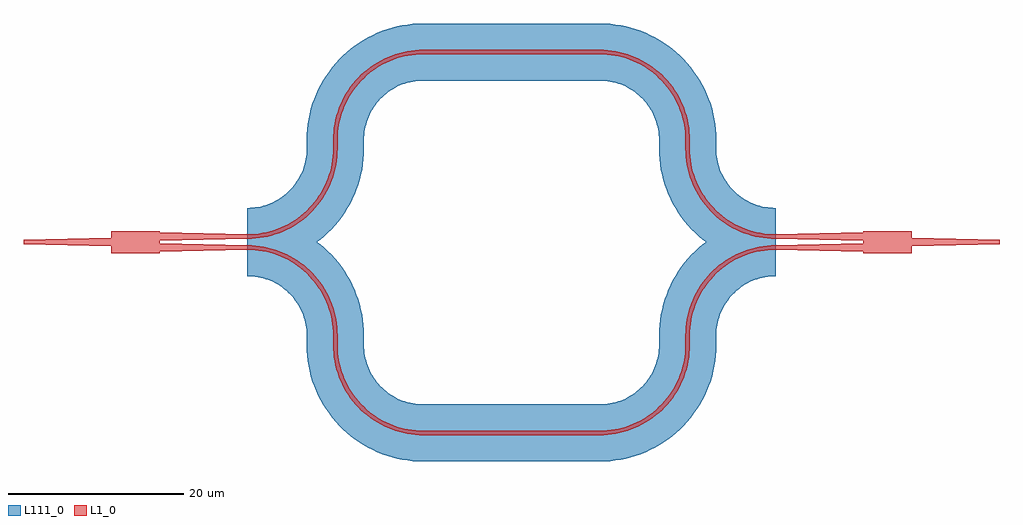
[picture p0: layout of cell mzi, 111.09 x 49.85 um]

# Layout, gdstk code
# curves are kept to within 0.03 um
import gdstk
lib = gdstk.Library(unit=1e-6, precision=1e-09)
def R(c, l, rs):  # rectangles x0, y0, x1, y1
    for r in rs: c.add(gdstk.rectangle(r[:2], r[2:], *l))
def P(c, l, *ps):  # polygons
    for p in ps: c.add(gdstk.Polygon(p, *l))
L1_0 = (1, 0)
L111_0 = (111, 0)

mzi = lib.new_cell('mzi')
R(mzi, L1_0, [(45.496,-21.975,65.596,-21.475), (35.246,-11.725,35.746,-11.625), (75.346,-11.725,75.846,-11.625), (35.246,-11.625,35.746,-10.625), (75.346,-11.625,75.846,-10.625), (10,-1.25,15.496,1.25), (95.596,-1.25,101.092,1.25), (35.246,10.625,35.746,11.625), (75.346,10.625,75.846,11.625), (45.496,21.375,65.596,21.875)])
P(mzi, L1_0, [(25.496,-0.875),(15.496,-1.125),(15.496,-0.125),(25.496,-0.375)],
  [(25.496,0.375),(15.496,0.125),(15.496,1.125),(25.496,0.875)],
  [(0,0.25),(10,0.5),(10,-0.5),(0,-0.25)],
  [(85.596,0.875),(95.596,1.125),(95.596,0.125),(85.596,0.375)],
  [(85.596,-0.375),(95.596,-0.125),(95.596,-1.125),(85.596,-0.875)],
  [(111.092,-0.25),(101.092,-0.5),(101.092,0.5),(111.092,0.25)],
  [(35.246,10.625),(35.207,9.751),(35.089,8.884),(34.895,8.031),(34.624,7.199),(34.28,6.395),(33.866,5.624),(33.119,4.546),(32.543,3.887),(31.911,3.283),(31.227,2.737),(30.497,2.255),(29.726,1.841),(28.509,1.352),(27.666,1.119),(26.37,0.914),(25.496,0.875),(25.496,0.375),(26.415,0.416),(27.777,0.632),(28.663,0.877),(29.525,1.2),(30.353,1.599),(31.143,2.071),(31.887,2.611),(32.905,3.542),(33.51,4.234),(34.295,5.368),(34.921,6.596),(35.244,7.458),(35.489,8.344),(35.653,9.249),(35.746,10.625)],
  [(35.746,11.625),(35.785,12.499),(35.903,13.366),(36.097,14.219),(36.368,15.051),(36.712,15.855),(37.126,16.626),(37.873,17.704),(38.449,18.363),(39.081,18.967),(39.765,19.513),(40.495,19.995),(41.266,20.409),(42.483,20.898),(43.326,21.131),(44.622,21.336),(45.496,21.375),(45.496,21.875),(44.577,21.834),(43.215,21.618),(42.329,21.373),(41.467,21.05),(40.639,20.651),(39.849,20.179),(39.105,19.639),(38.087,18.708),(37.482,18.016),(36.697,16.882),(36.071,15.654),(35.748,14.792),(35.503,13.906),(35.339,13.001),(35.246,11.625)],
  [(65.596,21.375),(66.47,21.336),(67.337,21.218),(68.19,21.024),(69.022,20.753),(69.826,20.409),(70.597,19.995),(71.675,19.248),(72.334,18.672),(72.938,18.04),(73.484,17.356),(73.966,16.626),(74.38,15.855),(74.869,14.638),(75.102,13.795),(75.307,12.499),(75.346,11.625),(75.846,11.625),(75.805,12.544),(75.589,13.906),(75.344,14.792),(75.021,15.654),(74.622,16.482),(74.15,17.272),(73.61,18.016),(72.679,19.034),(71.987,19.639),(70.853,20.424),(69.625,21.05),(68.763,21.373),(67.877,21.618),(66.972,21.782),(65.596,21.875)],
  [(85.596,0.875),(84.722,0.914),(83.855,1.032),(83.002,1.226),(82.17,1.497),(81.366,1.841),(80.595,2.255),(79.517,3.002),(78.858,3.578),(78.254,4.21),(77.708,4.894),(77.226,5.624),(76.812,6.395),(76.323,7.612),(76.09,8.455),(75.885,9.751),(75.846,10.625),(75.346,10.625),(75.387,9.706),(75.603,8.344),(75.848,7.458),(76.171,6.596),(76.57,5.768),(77.042,4.978),(77.582,4.234),(78.513,3.216),(79.205,2.611),(80.339,1.826),(81.567,1.2),(82.429,0.877),(83.315,0.632),(84.22,0.468),(85.596,0.375)],
  [(25.496,-0.875),(26.37,-0.914),(27.237,-1.032),(28.09,-1.226),(28.922,-1.497),(29.726,-1.841),(30.497,-2.255),(31.575,-3.002),(32.234,-3.578),(32.838,-4.21),(33.384,-4.894),(33.866,-5.624),(34.28,-6.395),(34.769,-7.612),(35.002,-8.455),(35.207,-9.751),(35.246,-10.625),(35.746,-10.625),(35.705,-9.706),(35.489,-8.344),(35.244,-7.458),(34.921,-6.596),(34.522,-5.768),(34.05,-4.978),(33.51,-4.234),(32.579,-3.216),(31.887,-2.611),(30.753,-1.826),(29.525,-1.2),(28.663,-0.877),(27.777,-0.632),(26.872,-0.468),(25.496,-0.375)],
  [(45.496,-21.475),(44.622,-21.436),(43.755,-21.318),(42.902,-21.124),(42.07,-20.853),(41.266,-20.509),(40.495,-20.095),(39.417,-19.348),(38.758,-18.772),(38.154,-18.14),(37.608,-17.456),(37.126,-16.726),(36.712,-15.955),(36.223,-14.738),(35.99,-13.895),(35.785,-12.599),(35.746,-11.725),(35.246,-11.725),(35.287,-12.644),(35.503,-14.006),(35.748,-14.892),(36.071,-15.754),(36.47,-16.582),(36.942,-17.372),(37.482,-18.116),(38.413,-19.134),(39.105,-19.739),(40.239,-20.524),(41.467,-21.15),(42.329,-21.473),(43.215,-21.718),(44.12,-21.882),(45.496,-21.975)],
  [(75.346,-11.725),(75.307,-12.599),(75.189,-13.466),(74.995,-14.319),(74.724,-15.151),(74.38,-15.955),(73.966,-16.726),(73.219,-17.804),(72.643,-18.463),(72.011,-19.067),(71.327,-19.613),(70.597,-20.095),(69.826,-20.509),(68.609,-20.998),(67.766,-21.231),(66.47,-21.436),(65.596,-21.475),(65.596,-21.975),(66.515,-21.934),(67.877,-21.718),(68.763,-21.473),(69.625,-21.15),(70.453,-20.751),(71.243,-20.279),(71.987,-19.739),(73.005,-18.808),(73.61,-18.116),(74.395,-16.982),(75.021,-15.754),(75.344,-14.892),(75.589,-14.006),(75.753,-13.101),(75.846,-11.725)],
  [(75.846,-10.625),(75.885,-9.751),(76.003,-8.884),(76.197,-8.031),(76.468,-7.199),(76.812,-6.395),(77.226,-5.624),(77.973,-4.546),(78.549,-3.887),(79.181,-3.283),(79.865,-2.737),(80.595,-2.255),(81.366,-1.841),(82.583,-1.352),(83.426,-1.119),(84.722,-0.914),(85.596,-0.875),(85.596,-0.375),(84.677,-0.416),(83.315,-0.632),(82.429,-0.877),(81.567,-1.2),(80.739,-1.599),(79.949,-2.071),(79.205,-2.611),(78.187,-3.542),(77.582,-4.234),(76.797,-5.368),(76.171,-6.596),(75.848,-7.458),(75.603,-8.344),(75.439,-9.249),(75.346,-10.625)])
R(mzi, L111_0, [(45.496,-24.975,65.596,-18.475), (32.246,-11.725,38.746,-11.625), (72.346,-11.725,78.846,-11.625), (32.246,-11.625,38.746,-10.625), (72.346,-11.625,78.846,-10.625), (32.246,10.625,38.746,11.625), (72.346,10.625,78.846,11.625), (45.496,18.375,65.596,24.875)])
P(mzi, L111_0, [(32.246,10.625),(32.138,9.42),(31.816,8.253),(31.291,7.163),(30.957,6.657),(30.375,5.96),(29.464,5.164),(28.958,4.83),(28.149,4.418),(27.582,4.205),(26.701,3.983),(25.496,3.875),(25.496,-2.625),(27.275,-2.505),(29.021,-2.148),(30.704,-1.559),(32.292,-0.749),(33.757,0.266),(35.073,1.468),(36.215,2.837),(37.164,4.346),(37.68,5.417),(38.269,7.1),(38.626,8.846),(38.746,10.625)],
  [(38.746,11.625),(38.854,12.83),(39.176,13.997),(39.701,15.087),(40.035,15.593),(40.617,16.29),(41.528,17.086),(42.034,17.42),(42.843,17.832),(43.41,18.045),(44.291,18.267),(45.496,18.375),(45.496,24.875),(43.717,24.755),(41.971,24.398),(40.288,23.809),(38.7,22.999),(37.235,21.984),(35.919,20.782),(34.777,19.413),(33.828,17.904),(33.312,16.833),(32.723,15.15),(32.366,13.404),(32.246,11.625)],
  [(65.596,18.375),(66.801,18.267),(67.968,17.945),(69.058,17.42),(69.564,17.086),(70.261,16.504),(71.057,15.593),(71.391,15.087),(71.803,14.278),(72.016,13.711),(72.238,12.83),(72.346,11.625),(78.846,11.625),(78.726,13.404),(78.369,15.15),(77.78,16.833),(76.97,18.421),(75.955,19.886),(74.753,21.202),(73.384,22.344),(71.875,23.293),(70.804,23.809),(69.121,24.398),(67.375,24.755),(65.596,24.875)],
  [(85.596,3.875),(84.391,3.983),(83.224,4.305),(82.134,4.83),(81.628,5.164),(80.931,5.746),(80.135,6.657),(79.801,7.163),(79.389,7.972),(79.176,8.539),(78.954,9.42),(78.846,10.625),(72.346,10.625),(72.466,8.846),(72.823,7.1),(73.412,5.417),(74.222,3.829),(75.237,2.364),(76.439,1.048),(77.808,-0.094),(79.317,-1.043),(80.388,-1.559),(82.071,-2.148),(83.817,-2.505),(85.596,-2.625)],
  [(25.496,-3.875),(26.701,-3.983),(27.868,-4.305),(28.958,-4.83),(29.464,-5.164),(30.161,-5.746),(30.957,-6.657),(31.291,-7.163),(31.703,-7.972),(31.916,-8.539),(32.138,-9.42),(32.246,-10.625),(38.746,-10.625),(38.626,-8.846),(38.269,-7.1),(37.68,-5.417),(36.87,-3.829),(35.855,-2.364),(34.653,-1.048),(33.284,0.094),(31.775,1.043),(30.704,1.559),(29.021,2.148),(27.275,2.505),(25.496,2.625)],
  [(45.496,-18.475),(44.291,-18.367),(43.124,-18.045),(42.034,-17.52),(41.528,-17.186),(40.831,-16.604),(40.035,-15.693),(39.701,-15.187),(39.289,-14.378),(39.076,-13.811),(38.854,-12.93),(38.746,-11.725),(32.246,-11.725),(32.366,-13.504),(32.723,-15.25),(33.312,-16.933),(34.122,-18.521),(35.137,-19.986),(36.339,-21.302),(37.708,-22.444),(39.217,-23.393),(40.288,-23.909),(41.971,-24.498),(43.717,-24.855),(45.496,-24.975)],
  [(72.346,-11.725),(72.238,-12.93),(71.916,-14.097),(71.391,-15.187),(71.057,-15.693),(70.475,-16.39),(69.564,-17.186),(69.058,-17.52),(68.249,-17.932),(67.682,-18.145),(66.801,-18.367),(65.596,-18.475),(65.596,-24.975),(67.375,-24.855),(69.121,-24.498),(70.804,-23.909),(72.392,-23.099),(73.857,-22.084),(75.173,-20.882),(76.315,-19.513),(77.264,-18.004),(77.78,-16.933),(78.369,-15.25),(78.726,-13.504),(78.846,-11.725)],
  [(78.846,-10.625),(78.954,-9.42),(79.276,-8.253),(79.801,-7.163),(80.135,-6.657),(80.717,-5.96),(81.628,-5.164),(82.134,-4.83),(82.943,-4.418),(83.51,-4.205),(84.391,-3.983),(85.596,-3.875),(85.596,2.625),(83.817,2.505),(82.071,2.148),(80.388,1.559),(78.8,0.749),(77.335,-0.266),(76.019,-1.468),(74.877,-2.837),(73.928,-4.346),(73.412,-5.417),(72.823,-7.1),(72.466,-8.846),(72.346,-10.625)])

lib.write_gds('mzi.gds')
